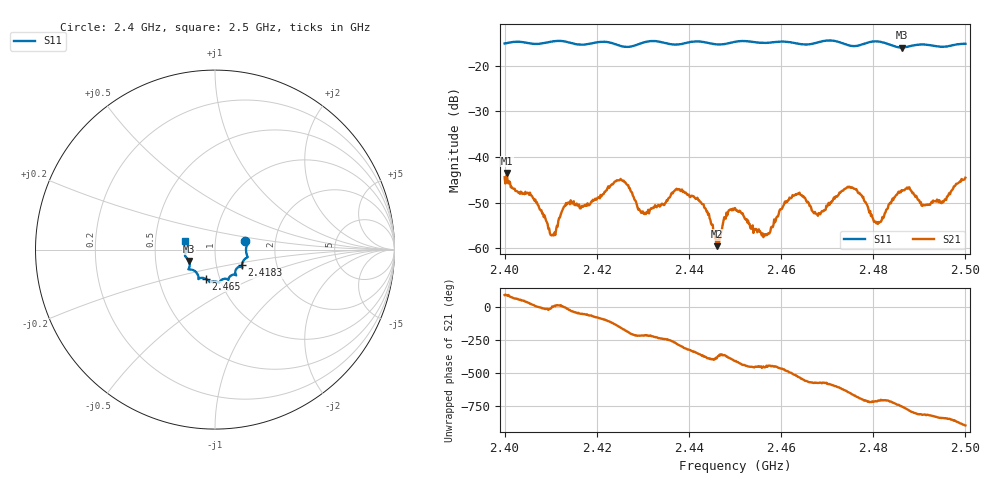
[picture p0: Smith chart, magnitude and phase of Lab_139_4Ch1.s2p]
# Hz S RI R 50
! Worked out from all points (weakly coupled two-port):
!   601 points, 2.4 GHz to 2.5 GHz, reference 50 ohm
!   highest |S21| = -43.50 dB at 2.4005 GHz (marker M1); lowest = -59.6 dB at 2.446 GHz (marker M2)
!   lowest |S11| = -16.0 dB at 2.4862 GHz (marker M3), VSWR 1.37, Z = 37.1 - j4.8 ohm
!   |S11| at or under -10 dB: start of sweep to end of sweep
!   S12 and S22 are empty: the file has one direction only
!   S11 on the Smith chart (normalised r, x): 2.4 GHz: 1.40, +0.13; 2.4183 GHz: 1.33, -0.24; 2.465 GHz: 0.86, -0.29; 2.5 GHz: 0.71, +0.07
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2.4e9  0.1686 0.0457  8.95e-06 0.00598  0 0  0 0
2.4005e9  0.1708 0.0424  0.000353 0.00668  0 0  0 0
2.406e9  0.1733 0.00863  0.00352 0.00111  0 0  0 0
2.410333e9  0.1801 -0.0364  0.00138 8.99e-05  0 0  0 0
2.413333e9  0.1768 -0.0452  0.0031 -0.000429  0 0  0 0
2.416667e9  0.155 -0.0684  0.00169 -0.00224  0 0  0 0
2.418333e9  0.15 -0.0869  0.00121 -0.00269  0 0  0 0
2.424833e9  0.1354 -0.0962  -0.00483 -0.00271  0 0  0 0
2.429833e9  0.1135 -0.1356  -0.00199 0.00154  0 0  0 0
2.433333e9  0.1168 -0.1414  -0.0016 0.0025  0 0  0 0
2.441333e9  0.0748 -0.1682  0.00339 0.001  0 0  0 0
2.446e9  0.053 -0.1626  0.000895 -0.000552  0 0  0 0
2.45e9  0.0252 -0.1805  0.0017 -0.00216  0 0  0 0
2.456667e9  -0.00708 -0.1772  -9.47e-05 -0.00142  0 0  0 0
2.465e9  -0.0528 -0.1622  -0.00344 0.00098  0 0  0 0
2.466667e9  -0.0713 -0.1576  -0.00215 0.00143  0 0  0 0
2.474833e9  -0.1004 -0.1324  0.00181 0.00436  0 0  0 0
2.480667e9  -0.1481 -0.1101  0.00187 4.85e-05  0 0  0 0
2.483333e9  -0.1422 -0.0959  0.00295 0.000366  0 0  0 0
2.486167e9  -0.1447 -0.0631  0.00355 -0.00248  0 0  0 0
2.491833e9  -0.1667 -0.0287  -0.000474 -0.00298  0 0  0 0
2.5e9  -0.1667 0.0472  -0.00591 6.05e-05  0 0  0 0
